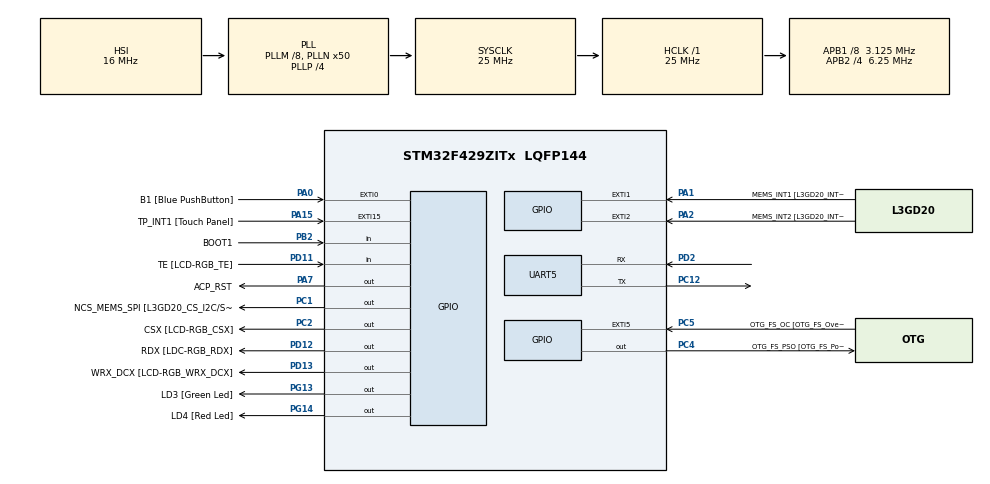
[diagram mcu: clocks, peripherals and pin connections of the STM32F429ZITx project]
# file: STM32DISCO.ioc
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Dma.Request0=UART5_TX
Dma.UART5_TX.0.Direction=DMA_MEMORY_TO_PERIPH
Dma.UART5_TX.0.FIFOMode=DMA_FIFOMODE_DISABLE
Dma.UART5_TX.0.Instance=DMA1_Stream7
Dma.UART5_TX.0.MemDataAlignment=DMA_MDATAALIGN_BYTE
Dma.UART5_TX.0.MemInc=DMA_MINC_ENABLE
Dma.UART5_TX.0.Mode=DMA_CIRCULAR
Dma.UART5_TX.0.PeriphDataAlignment=DMA_PDATAALIGN_BYTE
Dma.UART5_TX.0.PeriphInc=DMA_PINC_DISABLE
Dma.UART5_TX.0.Priority=DMA_PRIORITY_LOW
Mcu.Family=STM32F4
Mcu.Name=STM32F429ZITx
Mcu.Package=LQFP144
NVIC.DMA1_Stream7_IRQn=true\:0\:0\:false\:false\:true\:false\:true\:true
NVIC.PriorityGroup=NVIC_PRIORITYGROUP_0
NVIC.UART5_IRQn=true\:0\:0\:false\:false\:true\:true\:true\:true
PA0/WKUP.GPIO_Label=B1 [Blue PushButton]
PA0/WKUP.GPIO_ModeDefaultEXTI=GPIO_MODE_EVT_RISING
PA0/WKUP.GPIO_PuPd=GPIO_NOPULL
PA0/WKUP.Signal=GPXTI0
PA1.GPIO_Label=MEMS_INT1 [L3GD20_INT1]
PA1.GPIO_ModeDefaultEXTI=GPIO_MODE_EVT_RISING
PA1.GPIO_PuPd=GPIO_NOPULL
PA1.Signal=GPXTI1
PA10.GPIO_Label=STLINK_TX [STM32F103CBT6_PA2]
PA10.Signal=USART1_RX
PA11.GPIO_Label=R4
PA11.GPIO_Mode=GPIO_MODE_AF_PP
PA11.GPIO_PuPd=GPIO_NOPULL
PA11.GPIO_Speed=GPIO_SPEED_FREQ_LOW
PA11.Signal=LTDC_R4
PA12.GPIO_Label=R5
PA12.GPIO_Mode=GPIO_MODE_AF_PP
PA12.GPIO_PuPd=GPIO_NOPULL
PA12.GPIO_Speed=GPIO_SPEED_FREQ_LOW
PA12.Signal=LTDC_R5
PA13.GPIO_Label=SWDIO
PA13.Signal=SYS_JTMS-SWDIO
PA14.GPIO_Label=SWCLK
PA14.Signal=SYS_JTCK-SWCLK
PA15.GPIO_Label=TP_INT1 [Touch Panel]
PA15.GPIO_ModeDefaultEXTI=GPIO_MODE_EVT_RISING
PA15.GPIO_PuPd=GPIO_NOPULL
PA15.Signal=GPXTI15
PA2.GPIO_Label=MEMS_INT2 [L3GD20_INT2]
PA2.GPIO_ModeDefaultEXTI=GPIO_MODE_EVT_RISING
PA2.GPIO_PuPd=GPIO_NOPULL
PA2.Signal=GPXTI2
PA3.GPIO_Label=B5
PA3.GPIO_Mode=GPIO_MODE_AF_PP
PA3.GPIO_PuPd=GPIO_NOPULL
PA3.GPIO_Speed=GPIO_SPEED_FREQ_LOW
PA3.Signal=LTDC_B5
PA4.GPIO_Label=VSYNC
PA4.GPIO_Mode=GPIO_MODE_AF_PP
PA4.GPIO_PuPd=GPIO_NOPULL
PA4.GPIO_Speed=GPIO_SPEED_FREQ_LOW
PA4.Signal=LTDC_VSYNC
PA6.GPIO_Label=G2
PA6.GPIO_Mode=GPIO_MODE_AF_PP
PA6.GPIO_PuPd=GPIO_NOPULL
PA6.GPIO_Speed=GPIO_SPEED_FREQ_LOW
PA6.Signal=LTDC_G2
PA7.GPIO_Label=ACP_RST
PA7.GPIO_Mode=GPIO_MODE_OUTPUT_PP
PA7.GPIO_PuPd=GPIO_NOPULL
PA7.GPIO_Speed=GPIO_SPEED_FREQ_LOW
PA7.Signal=GPIO_Output
PA8.GPIO_Label=I2C3_SCL [ACP/RF_SCL]
PA8.GPIO_Mode=GPIO_MODE_AF_OD
PA8.GPIO_PuPd=GPIO_NOPULL
PA8.GPIO_Speed=GPIO_SPEED_FREQ_LOW
PA8.Signal=I2C3_SCL
PA9.GPIO_Label=STLINK_RX [STM32F103CBT6_PA3]
PA9.Signal=USART1_TX
PB0.GPIO_Label=R3
PB0.GPIO_Mode=GPIO_MODE_AF_PP
PB0.GPIO_PuPd=GPIO_NOPULL
PB0.GPIO_Speed=GPIO_SPEED_FREQ_LOW
PB0.Signal=LTDC_R3
PB1.GPIO_Label=R6
PB1.GPIO_Mode=GPIO_MODE_AF_PP
PB1.GPIO_PuPd=GPIO_NOPULL
PB1.GPIO_Speed=GPIO_SPEED_FREQ_LOW
PB1.Signal=LTDC_R6
PB10.GPIO_Label=G4
PB10.GPIO_Mode=GPIO_MODE_AF_PP
PB10.GPIO_PuPd=GPIO_NOPULL
PB10.GPIO_Speed=GPIO_SPEED_FREQ_LOW
PB10.Signal=LTDC_G4
PB11.GPIO_Label=G5
PB11.GPIO_Mode=GPIO_MODE_AF_PP
PB11.GPIO_PuPd=GPIO_NOPULL
PB11.GPIO_Speed=GPIO_SPEED_FREQ_LOW
PB11.Signal=LTDC_G5
PB12.GPIO_Label=OTG_HS_ID
PB12.GPIO_Mode=GPIO_MODE_AF_PP
PB12.GPIO_PuPd=GPIO_NOPULL
PB12.GPIO_Speed=GPIO_SPEED_FREQ_LOW
PB12.Signal=USB_OTG_HS_ID
PB13.GPIO_Label=VBUS_HS
PB13.GPIO_Mode=GPIO_MODE_INPUT
PB13.GPIO_PuPd=GPIO_NOPULL
PB13.Signal=USB_OTG_HS_VBUS
PB14.GPIO_Label=OTG_HS_DM
PB14.GPIO_Mode=GPIO_MODE_AF_PP
PB14.GPIO_PuPd=GPIO_NOPULL
PB14.GPIO_Speed=GPIO_SPEED_FREQ_LOW
PB14.Signal=USB_OTG_HS_DM
PB15.GPIO_Label=OTG_HS_DP
PB15.GPIO_Mode=GPIO_MODE_AF_PP
PB15.GPIO_PuPd=GPIO_NOPULL
PB15.GPIO_Speed=GPIO_SPEED_FREQ_LOW
PB15.Signal=USB_OTG_HS_DP
PB2/BOOT1.GPIO_Label=BOOT1
PB2/BOOT1.GPIO_Mode=GPIO_MODE_INPUT
PB2/BOOT1.GPIO_PuPd=GPIO_NOPULL
PB2/BOOT1.Signal=GPIO_Input
PB5.GPIO_Label=SDCKE1
PB5.GPIO_Mode=GPIO_MODE_AF_PP
PB5.GPIO_PuPd=GPIO_NOPULL
PB5.GPIO_Speed=GPIO_SPEED_FREQ_VERY_HIGH
PB5.Signal=FMC_SDCKE1
PB6.GPIO_Label=SDNE1 [SDRAM_CS]
PB6.GPIO_Mode=GPIO_MODE_AF_PP
PB6.GPIO_PuPd=GPIO_NOPULL
PB6.GPIO_Speed=GPIO_SPEED_FREQ_VERY_HIGH
PB6.Signal=FMC_SDNE1
PB8.GPIO_Label=B6
PB8.GPIO_Mode=GPIO_MODE_AF_PP
PB8.GPIO_PuPd=GPIO_NOPULL
PB8.GPIO_Speed=GPIO_SPEED_FREQ_LOW
PB8.Signal=LTDC_B6
PB9.GPIO_Label=B7
PB9.GPIO_Mode=GPIO_MODE_AF_PP
PB9.GPIO_PuPd=GPIO_NOPULL
PB9.GPIO_Speed=GPIO_SPEED_FREQ_LOW
PB9.Signal=LTDC_B7
PC0.GPIO_Label=SDNWE
PC0.GPIO_Mode=GPIO_MODE_AF_PP
PC0.GPIO_PuPd=GPIO_NOPULL
PC0.GPIO_Speed=GPIO_SPEED_FREQ_VERY_HIGH
PC0.Signal=FMC_SDNWE
PC1.GPIO_Label=NCS_MEMS_SPI [L3GD20_CS_I2C/SPI]
PC1.GPIO_Mode=GPIO_MODE_OUTPUT_PP
PC1.GPIO_PuPd=GPIO_NOPULL
PC1.GPIO_Speed=GPIO_SPEED_FREQ_LOW
PC1.Signal=GPIO_Output
PC10.GPIO_Label=R2
PC10.GPIO_Mode=GPIO_MODE_AF_PP
PC10.GPIO_PuPd=GPIO_NOPULL
PC10.GPIO_Speed=GPIO_SPEED_FREQ_LOW
PC10.Signal=LTDC_R2
PC12.Mode=Asynchronous
PC12.Signal=UART5_TX
PC14/OSC32_IN.GPIO_Label=PC14-OSC32_IN
PC14/OSC32_IN.Signal=RCC_OSC32_IN
PC15/OSC32_OUT.GPIO_Label=PC15-OSC32_OUT
PC15/OSC32_OUT.Signal=RCC_OSC32_OUT
PC2.GPIO_Label=CSX [LCD-RGB_CSX]
PC2.GPIO_Mode=GPIO_MODE_OUTPUT_PP
PC2.GPIO_PuPd=GPIO_NOPULL
PC2.GPIO_Speed=GPIO_SPEED_FREQ_LOW
PC2.Signal=GPIO_Output
PC4.GPIO_Label=OTG_FS_PSO [OTG_FS_PowerSwitchOn]
PC4.GPIO_Mode=GPIO_MODE_OUTPUT_PP
PC4.GPIO_PuPd=GPIO_NOPULL
PC4.GPIO_Speed=GPIO_SPEED_FREQ_LOW
PC4.Signal=GPIO_Output
PC5.GPIO_Label=OTG_FS_OC [OTG_FS_OverCurrent]
PC5.GPIO_ModeDefaultEXTI=GPIO_MODE_EVT_RISING
PC5.Signal=GPXTI5
PC6.GPIO_Label=HSYNC
PC6.GPIO_Mode=GPIO_MODE_AF_PP
PC6.GPIO_PuPd=GPIO_NOPULL
PC6.GPIO_Speed=GPIO_SPEED_FREQ_LOW
PC6.Signal=LTDC_HSYNC
PC7.GPIO_Label=G6
PC7.GPIO_Mode=GPIO_MODE_AF_PP
PC7.GPIO_PuPd=GPIO_NOPULL
PC7.GPIO_Speed=GPIO_SPEED_FREQ_LOW
PC7.Signal=LTDC_G6
PC9.GPIO_Label=I2C3_SDA [ACP/RF_SDA]
PC9.GPIO_Mode=GPIO_MODE_AF_OD
PC9.GPIO_PuPd=GPIO_NOPULL
PC9.GPIO_Speed=GPIO_SPEED_FREQ_LOW
PC9.Signal=I2C3_SDA
PD0.GPIO_Label=D2
PD0.GPIO_Mode=GPIO_MODE_AF_PP
PD0.GPIO_PuPd=GPIO_NOPULL
PD0.GPIO_Speed=GPIO_SPEED_FREQ_VERY_HIGH
PD0.Signal=FMC_D2_DA2
PD1.GPIO_Label=D3
PD1.GPIO_Mode=GPIO_MODE_AF_PP
PD1.GPIO_PuPd=GPIO_NOPULL
PD1.GPIO_Speed=GPIO_SPEED_FREQ_VERY_HIGH
PD1.Signal=FMC_D3_DA3
PD10.GPIO_Label=D15
PD10.GPIO_Mode=GPIO_MODE_AF_PP
PD10.GPIO_PuPd=GPIO_NOPULL
PD10.GPIO_Speed=GPIO_SPEED_FREQ_VERY_HIGH
PD10.Signal=FMC_D15_DA15
PD11.GPIO_Label=TE [LCD-RGB_TE]
PD11.GPIO_Mode=GPIO_MODE_INPUT
PD11.GPIO_PuPd=GPIO_NOPULL
PD11.Signal=GPIO_Input
PD12.GPIO_Label=RDX [LDC-RGB_RDX]
PD12.GPIO_Mode=GPIO_MODE_OUTPUT_PP
PD12.GPIO_PuPd=GPIO_NOPULL
PD12.GPIO_Speed=GPIO_SPEED_FREQ_LOW
PD12.Signal=GPIO_Output
PD13.GPIO_Label=WRX_DCX [LCD-RGB_WRX_DCX]
PD13.GPIO_Mode=GPIO_MODE_OUTPUT_PP
PD13.GPIO_PuPd=GPIO_NOPULL
PD13.GPIO_Speed=GPIO_SPEED_FREQ_LOW
PD13.Signal=GPIO_Output
PD14.GPIO_Label=D0
PD14.GPIO_Mode=GPIO_MODE_AF_PP
PD14.GPIO_PuPd=GPIO_NOPULL
PD14.GPIO_Speed=GPIO_SPEED_FREQ_VERY_HIGH
PD14.Signal=FMC_D0_DA0
PD15.GPIO_Label=D1
PD15.GPIO_Mode=GPIO_MODE_AF_PP
PD15.GPIO_PuPd=GPIO_NOPULL
PD15.GPIO_Speed=GPIO_SPEED_FREQ_VERY_HIGH
PD15.Signal=FMC_D1_DA1
PD2.Mode=Asynchronous
PD2.Signal=UART5_RX
PD3.GPIO_Label=G7
PD3.GPIO_Mode=GPIO_MODE_AF_PP
PD3.GPIO_PuPd=GPIO_NOPULL
PD3.GPIO_Speed=GPIO_SPEED_FREQ_LOW
PD3.Signal=LTDC_G7
PD6.GPIO_Label=B2
PD6.GPIO_Mode=GPIO_MODE_AF_PP
PD6.GPIO_PuPd=GPIO_NOPULL
PD6.GPIO_Speed=GPIO_SPEED_FREQ_LOW
PD6.Signal=LTDC_B2
PD8.GPIO_Label=D13
PD8.GPIO_Mode=GPIO_MODE_AF_PP
PD8.GPIO_PuPd=GPIO_NOPULL
PD8.GPIO_Speed=GPIO_SPEED_FREQ_VERY_HIGH
PD8.Signal=FMC_D13_DA13
PD9.GPIO_Label=D14
PD9.GPIO_Mode=GPIO_MODE_AF_PP
PD9.GPIO_PuPd=GPIO_NOPULL
PD9.GPIO_Speed=GPIO_SPEED_FREQ_VERY_HIGH
PD9.Signal=FMC_D14_DA14
PE0.GPIO_Label=NBL0 [SDRAM_LDQM]
PE0.GPIO_Mode=GPIO_MODE_AF_PP
PE0.GPIO_PuPd=GPIO_NOPULL
PE0.GPIO_Speed=GPIO_SPEED_FREQ_VERY_HIGH
PE0.Signal=FMC_NBL0
PE1.GPIO_Label=NBL1 [SDRAM_UDQM]
PE1.GPIO_Mode=GPIO_MODE_AF_PP
PE1.GPIO_PuPd=GPIO_NOPULL
PE1.GPIO_Speed=GPIO_SPEED_FREQ_VERY_HIGH
PE1.Signal=FMC_NBL1
PE10.GPIO_Label=D7
PE10.GPIO_Mode=GPIO_MODE_AF_PP
PE10.GPIO_PuPd=GPIO_NOPULL
PE10.GPIO_Speed=GPIO_SPEED_FREQ_VERY_HIGH
PE10.Signal=FMC_D7_DA7
PE11.GPIO_Label=D8
PE11.GPIO_Mode=GPIO_MODE_AF_PP
PE11.GPIO_PuPd=GPIO_NOPULL
PE11.GPIO_Speed=GPIO_SPEED_FREQ_VERY_HIGH
PE11.Signal=FMC_D8_DA8
PE12.GPIO_Label=D9
PE12.GPIO_Mode=GPIO_MODE_AF_PP
PE12.GPIO_PuPd=GPIO_NOPULL
PE12.GPIO_Speed=GPIO_SPEED_FREQ_VERY_HIGH
PE12.Signal=FMC_D9_DA9
PE13.GPIO_Label=D10
PE13.GPIO_Mode=GPIO_MODE_AF_PP
PE13.GPIO_PuPd=GPIO_NOPULL
PE13.GPIO_Speed=GPIO_SPEED_FREQ_VERY_HIGH
PE13.Signal=FMC_D10_DA10
PE14.GPIO_Label=D11
PE14.GPIO_Mode=GPIO_MODE_AF_PP
PE14.GPIO_PuPd=GPIO_NOPULL
PE14.GPIO_Speed=GPIO_SPEED_FREQ_VERY_HIGH
PE14.Signal=FMC_D11_DA11
PE15.GPIO_Label=D12
PE15.GPIO_Mode=GPIO_MODE_AF_PP
PE15.GPIO_PuPd=GPIO_NOPULL
PE15.GPIO_Speed=GPIO_SPEED_FREQ_VERY_HIGH
PE15.Signal=FMC_D12_DA12
PE7.GPIO_Label=D4
PE7.GPIO_Mode=GPIO_MODE_AF_PP
PE7.GPIO_PuPd=GPIO_NOPULL
PE7.GPIO_Speed=GPIO_SPEED_FREQ_VERY_HIGH
PE7.Signal=FMC_D4_DA4
PE8.GPIO_Label=D5
PE8.GPIO_Mode=GPIO_MODE_AF_PP
PE8.GPIO_PuPd=GPIO_NOPULL
PE8.GPIO_Speed=GPIO_SPEED_FREQ_VERY_HIGH
PE8.Signal=FMC_D5_DA5
PE9.GPIO_Label=D6
PE9.GPIO_Mode=GPIO_MODE_AF_PP
PE9.GPIO_PuPd=GPIO_NOPULL
PE9.GPIO_Speed=GPIO_SPEED_FREQ_VERY_HIGH
PE9.Signal=FMC_D6_DA6
PF0.GPIO_Label=A0
PF0.GPIO_Mode=GPIO_MODE_AF_PP
PF0.GPIO_PuPd=GPIO_NOPULL
PF0.GPIO_Speed=GPIO_SPEED_FREQ_VERY_HIGH
PF0.Signal=FMC_A0
PF1.GPIO_Label=A1
PF1.GPIO_Mode=GPIO_MODE_AF_PP
PF1.GPIO_PuPd=GPIO_NOPULL
PF1.GPIO_Speed=GPIO_SPEED_FREQ_VERY_HIGH
PF1.Signal=FMC_A1
PF10.GPIO_Label=ENABLE [LCD-RGB_ENABLE]
PF10.GPIO_Mode=GPIO_MODE_AF_PP
PF10.GPIO_PuPd=GPIO_NOPULL
PF10.GPIO_Speed=GPIO_SPEED_FREQ_LOW
PF10.Signal=LTDC_DE
PF11.GPIO_Label=SDNRAS
PF11.GPIO_Mode=GPIO_MODE_AF_PP
PF11.GPIO_PuPd=GPIO_NOPULL
PF11.GPIO_Speed=GPIO_SPEED_FREQ_VERY_HIGH
PF11.Signal=FMC_SDNRAS
PF12.GPIO_Label=A6
PF12.GPIO_Mode=GPIO_MODE_AF_PP
PF12.GPIO_PuPd=GPIO_NOPULL
PF12.GPIO_Speed=GPIO_SPEED_FREQ_VERY_HIGH
PF12.Signal=FMC_A6
PF13.GPIO_Label=A7
PF13.GPIO_Mode=GPIO_MODE_AF_PP
PF13.GPIO_PuPd=GPIO_NOPULL
PF13.GPIO_Speed=GPIO_SPEED_FREQ_VERY_HIGH
PF13.Signal=FMC_A7
PF14.GPIO_Label=A8
PF14.GPIO_Mode=GPIO_MODE_AF_PP
PF14.GPIO_PuPd=GPIO_NOPULL
PF14.GPIO_Speed=GPIO_SPEED_FREQ_VERY_HIGH
PF14.Signal=FMC_A8
PF15.GPIO_Label=A9
PF15.GPIO_Mode=GPIO_MODE_AF_PP
PF15.GPIO_PuPd=GPIO_NOPULL
PF15.GPIO_Speed=GPIO_SPEED_FREQ_VERY_HIGH
PF15.Signal=FMC_A9
PF2.GPIO_Label=A2
PF2.GPIO_Mode=GPIO_MODE_AF_PP
PF2.GPIO_PuPd=GPIO_NOPULL
PF2.GPIO_Speed=GPIO_SPEED_FREQ_VERY_HIGH
PF2.Signal=FMC_A2
PF3.GPIO_Label=A3
PF3.GPIO_Mode=GPIO_MODE_AF_PP
PF3.GPIO_PuPd=GPIO_NOPULL
PF3.GPIO_Speed=GPIO_SPEED_FREQ_VERY_HIGH
PF3.Signal=FMC_A3
PF4.GPIO_Label=A4
PF4.GPIO_Mode=GPIO_MODE_AF_PP
PF4.GPIO_PuPd=GPIO_NOPULL
PF4.GPIO_Speed=GPIO_SPEED_FREQ_VERY_HIGH
PF4.Signal=FMC_A4
PF5.GPIO_Label=A5
PF5.GPIO_Mode=GPIO_MODE_AF_PP
PF5.GPIO_PuPd=GPIO_NOPULL
PF5.GPIO_Speed=GPIO_SPEED_FREQ_VERY_HIGH
PF5.Signal=FMC_A5
PF7.GPIO_Label=SPI5_SCK [L3GD20_SCL/SPC]
PF7.GPIO_Mode=GPIO_MODE_AF_PP
PF7.GPIO_PuPd=GPIO_NOPULL
PF7.GPIO_Speed=GPIO_SPEED_FREQ_LOW
PF7.Signal=SPI5_SCK
PF8.GPIO_Label=SPI5_MISO [L3GD20_SDO]
PF8.GPIO_Mode=GPIO_MODE_AF_PP
PF8.GPIO_PuPd=GPIO_NOPULL
PF8.GPIO_Speed=GPIO_SPEED_FREQ_LOW
PF8.Signal=SPI5_MISO
PF9.GPIO_Label=SPI5_MOSI [L3GD20_SDA/SDI/SDO]
PF9.GPIO_Mode=GPIO_MODE_AF_PP
PF9.GPIO_PuPd=GPIO_NOPULL
PF9.GPIO_Speed=GPIO_SPEED_FREQ_LOW
PF9.Signal=SPI5_MOSI
PG0.GPIO_Label=A10
PG0.GPIO_Mode=GPIO_MODE_AF_PP
PG0.GPIO_PuPd=GPIO_NOPULL
PG0.GPIO_Speed=GPIO_SPEED_FREQ_VERY_HIGH
PG0.Signal=FMC_A10
PG1.GPIO_Label=A11
PG1.GPIO_Mode=GPIO_MODE_AF_PP
PG1.GPIO_PuPd=GPIO_NOPULL
PG1.GPIO_Speed=GPIO_SPEED_FREQ_VERY_HIGH
PG1.Signal=FMC_A11
PG10.GPIO_Label=G3
PG10.GPIO_Mode=GPIO_MODE_AF_PP
PG10.GPIO_PuPd=GPIO_NOPULL
PG10.GPIO_Speed=GPIO_SPEED_FREQ_LOW
PG10.Signal=LTDC_G3
PG11.GPIO_Label=B3
PG11.GPIO_Mode=GPIO_MODE_AF_PP
PG11.GPIO_PuPd=GPIO_NOPULL
PG11.GPIO_Speed=GPIO_SPEED_FREQ_LOW
PG11.Signal=LTDC_B3
PG12.GPIO_Label=B4
PG12.GPIO_Mode=GPIO_MODE_AF_PP
PG12.GPIO_PuPd=GPIO_NOPULL
PG12.GPIO_Speed=GPIO_SPEED_FREQ_LOW
PG12.Signal=LTDC_B4
PG13.GPIO_Label=LD3 [Green Led]
PG13.GPIO_Mode=GPIO_MODE_OUTPUT_PP
PG13.GPIO_PuPd=GPIO_NOPULL
PG13.GPIO_Speed=GPIO_SPEED_FREQ_LOW
PG13.Signal=GPIO_Output
PG14.GPIO_Label=LD4 [Red Led]
PG14.GPIO_Mode=GPIO_MODE_OUTPUT_PP
PG14.GPIO_PuPd=GPIO_NOPULL
PG14.GPIO_Speed=GPIO_SPEED_FREQ_LOW
PG14.Signal=GPIO_Output
PG15.GPIO_Label=SDNCAS
PG15.GPIO_Mode=GPIO_MODE_AF_PP
PG15.GPIO_PuPd=GPIO_NOPULL
PG15.GPIO_Speed=GPIO_SPEED_FREQ_VERY_HIGH
PG15.Signal=FMC_SDNCAS
PG4.GPIO_Label=BA0
PG4.GPIO_Mode=GPIO_MODE_AF_PP
PG4.GPIO_PuPd=GPIO_NOPULL
PG4.GPIO_Speed=GPIO_SPEED_FREQ_VERY_HIGH
PG4.Signal=FMC_A14_BA0
PG5.GPIO_Label=BA1
PG5.GPIO_Mode=GPIO_MODE_AF_PP
PG5.GPIO_PuPd=GPIO_NOPULL
PG5.GPIO_Speed=GPIO_SPEED_FREQ_VERY_HIGH
PG5.Signal=FMC_A15_BA1
PG6.GPIO_Label=R7
PG6.GPIO_Mode=GPIO_MODE_AF_PP
PG6.GPIO_PuPd=GPIO_NOPULL
PG6.GPIO_Speed=GPIO_SPEED_FREQ_LOW
PG6.Signal=LTDC_R7
PG7.GPIO_Label=DOTCLK [LCT-RGB_DOTCLK]
PG7.GPIO_Mode=GPIO_MODE_AF_PP
PG7.GPIO_PuPd=GPIO_NOPULL
PG7.GPIO_Speed=GPIO_SPEED_FREQ_LOW
PG7.Signal=LTDC_CLK
PG8.GPIO_Label=SDCLK
PG8.GPIO_Mode=GPIO_MODE_AF_PP
PG8.GPIO_PuPd=GPIO_NOPULL
PG8.GPIO_Speed=GPIO_SPEED_FREQ_VERY_HIGH
PG8.Signal=FMC_SDCLK
PH0/OSC_IN.GPIO_Label=PH0-OSC_IN
PH0/OSC_IN.Signal=RCC_OSC_IN
PH1/OSC_OUT.GPIO_Label=PH1-OSC_OUT
PH1/OSC_OUT.Signal=RCC_OSC_OUT
ProjectManager.HeapSize=0x200
ProjectManager.StackSize=0x400
ProjectManager.TargetToolchain=STM32CubeIDE
RCC.48MHZClocksFreq_Value=14285714.285714285
RCC.AHBFreq_Value=25000000
RCC.APB1CLKDivider=RCC_HCLK_DIV8
RCC.APB1Freq_Value=3125000
RCC.APB1TimFreq_Value=6250000
RCC.APB2CLKDivider=RCC_HCLK_DIV4
RCC.APB2Freq_Value=6250000
RCC.APB2TimFreq_Value=12500000
RCC.CortexFreq_Value=25000000
RCC.HCLKFreq_Value=25000000
RCC.HSE_VALUE=8000000
RCC.HSI_VALUE=16000000
RCC.LSE_VALUE=32768
RCC.PLLM=8
RCC.PLLN=50
RCC.PLLP=RCC_PLLP_DIV4
RCC.PLLQ=7
RCC.SYSCLKFreq_VALUE=25000000
RCC.SYSCLKSource=RCC_SYSCLKSOURCE_PLLCLK
RCC.VCOOutputFreq_Value=100000000
SH.FMC_A0.0=FMC_A0
SH.FMC_A1.0=FMC_A1
SH.FMC_A10.0=FMC_A10
SH.FMC_A11.0=FMC_A11
SH.FMC_A14_BA0.0=FMC_BA0
SH.FMC_A15_BA1.0=FMC_BA1
SH.FMC_A2.0=FMC_A2
SH.FMC_A3.0=FMC_A3
SH.FMC_A4.0=FMC_A4
SH.FMC_A5.0=FMC_A5
SH.FMC_A6.0=FMC_A6
SH.FMC_A7.0=FMC_A7
SH.FMC_A8.0=FMC_A8
SH.FMC_A9.0=FMC_A9
SH.FMC_D0_DA0.0=FMC_D0
SH.FMC_D10_DA10.0=FMC_D10
SH.FMC_D11_DA11.0=FMC_D11
SH.FMC_D12_DA12.0=FMC_D12
SH.FMC_D13_DA13.0=FMC_D13
SH.FMC_D14_DA14.0=FMC_D14
SH.FMC_D15_DA15.0=FMC_D15
SH.FMC_D1_DA1.0=FMC_D1
SH.FMC_D2_DA2.0=FMC_D2
SH.FMC_D3_DA3.0=FMC_D3
SH.FMC_D4_DA4.0=FMC_D4
SH.FMC_D5_DA5.0=FMC_D5
SH.FMC_D6_DA6.0=FMC_D6
SH.FMC_D7_DA7.0=FMC_D7
SH.FMC_D8_DA8.0=FMC_D8
SH.FMC_D9_DA9.0=FMC_D9
SH.FMC_NBL0.0=FMC_NBL0
SH.FMC_NBL1.0=FMC_NBL1
SH.FMC_SDCLK.0=FMC_SDCLK
SH.FMC_SDNCAS.0=FMC_SDNCAS
SH.FMC_SDNRAS.0=FMC_SDNRAS
SH.FMC_SDNWE.0=FMC_SDNWE
UART5.VirtualMode=Asynchronous
board=STM32F429I-DISC1

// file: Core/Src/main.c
/* USER CODE BEGIN Header */
/**
  ******************************************************************************
  * @file           : main.c
  * @brief          : Main program body
  ******************************************************************************
  * @attention
  *
  * Copyright (c) 2025 STMicroelectronics.
  * All rights reserved.
  *
  * This software is licensed under terms that can be found in the LICENSE file
  * in the root directory of this software component.
  * If no LICENSE file comes with this software, it is provided AS-IS.
  *
  ******************************************************************************
  */
/* USER CODE END Header */
#include "main.h"

/* USER CODE BEGIN PD */
#define ECG_LEN 250

#define BLOCK_SAMPLES 32 //radimo blokovski DMA prijenos, svaki blok će imati 32 uzorka ECG signala
#define BYTES_PER_SAMPLE 2 //svaki uzorak zauzima 2 bajta (STM32F429 familija ima 12 bitni ADC [0,4096])
#define TX_BLOCK_SIZE (BLOCK_SAMPLES * BYTES_PER_SAMPLE) //ovo je ujedno i DMA buffer size
/* USER CODE END PD */

UART_HandleTypeDef huart5;
DMA_HandleTypeDef hdma_uart5_tx;

/* USER CODE BEGIN PV */

char transmit_buffer[TX_BLOCK_SIZE]; //string veličine 64 byte-a koji šaljemo
char recieve_buffer[TX_BLOCK_SIZE]; //trenutačno ne korisitmo
uint8_t dma_buffer[TX_BLOCK_SIZE]; //više manje identično što i char, no DMA ne zna što je character, DMA zna samo što je byte  (uint8_t)

uint8_t rx_byte;
char rx_buffer[32];
uint8_t rx_index = 0;

volatile streaming = 0; //varijabla sa kojom ćemo pokrenut omogucit tj. onemogucit dma prijenos prema uartu

const uint16_t ecg_mock[ECG_LEN] = {
    // baseline
    2048,2048,2048,2048,2049,2050,2051,2050,2049,2048,

    // P wave (small bump)
    2050,2053,2058,2065,2070,2075,2070,2065,2058,2053,2050,

    // PR segment
    2049,2048,2048,2048,2048,2048,

    // Q dip
    2035,2020,2000,

    // R peak
    2300,2800,3500,4095,3600,3000,2500,

    // S dip
    2100,2000,1980,

    // ST segment
    2048,2050,2052,2054,2056,2054,2052,2050,2048,

    // T wave
    2060,2080,2100,2130,2160,2180,2200,
    2180,2160,2130,2100,2080,2060,

    // return to baseline
    2050,2048,2048,2048,2048,2048,2048,

    // rest (diastole)
    2048,2048,2048,2048,2048,2048,2048,2048,2048,2048,
    2048,2048,2048,2048,2048,2048,2048,2048,2048,2048,
    2048,2048,2048,2048,2048,2048,2048,2048,2048,2048,
    2048,2048,2048,2048,2048,2048,2048,2048,2048,2048,

    // lagani šum (realističnije)
    2049,2047,2048,2049,2048,2047,2048,2049,2048,2047,
    2048,2049,2048,2047,2048,2049,2048,2047,

    // još malo baseline da dođe do ~250
    2048,2048,2048,2048,2048,2048,2048,2048,2048,2048,
    2048,2048,2048,2048,2048,2048,2048,2048,2048,2048,
    2048,2048,2048,2048,2048,2048,2048,2048,2048,2048,
    2048,2048,2048,2048,2048,2048,2048,2048,2048,2048,
};

/* USER CODE END PV */

void SystemClock_Config(void);
static void MX_GPIO_Init(void);
static void MX_DMA_Init(void);
static void MX_UART5_Init(void);
/* USER CODE BEGIN PFP */
//PFP = private function prototypes
void start_streaming(void);
void stop_streaming(void);
void fill_tx_dma_block(void); //punjenje DMA blokova
void send_block_dma(void); //slanje blokova preko UART-a
void HAL_UART_TxCpltCallback(UART_HandleTypeDef *huart); //poziva se nakon prijenosa svakog bloka podataka
/* USER CODE END PFP */

int main(void)
{

  /* MCU Configuration--------------------------------------------------------*/

  /* Reset of all peripherals, Initializes the Flash interface and the Systick. */
  HAL_Init();

  /* Configure the system clock */
  SystemClock_Config();

  /* Initialize all configured peripherals */
  MX_GPIO_Init();
  MX_DMA_Init();
  MX_UART5_Init();
  /* USER CODE BEGIN 2 */
//  HAL_UART_Transmit_DMA(&huart5, dma_buffer, TX_BLOCK_SIZE);
  HAL_UART_Receive_IT(&huart5, &rx_byte, 1); //omogucujemo interrupt da poveemo python sa mikrokontrolerom
  /* USER CODE END 2 */

  /* Infinite loop */
  while (1)
  {

    /* USER CODE BEGIN 3 */

  //Nemamo potrebe pisati bilo kakav kod za DMA, pri ulasku u main HAL_UART_Transmit_DMA() gleda lokaciju podataka i ako ima podataka DMA šalje podatke bez obzira na to
  //jesu li podaci novi, stari, osvježenili ili nisu
  }
  /* USER CODE END 3 */
}

void SystemClock_Config(void)
{
  RCC_OscInitTypeDef RCC_OscInitStruct = {0};
  RCC_ClkInitTypeDef RCC_ClkInitStruct = {0};

  /** Configure the main internal regulator output voltage
  */
  __HAL_RCC_PWR_CLK_ENABLE();
  __HAL_PWR_VOLTAGESCALING_CONFIG(PWR_REGULATOR_VOLTAGE_SCALE3);

  /** Initializes the RCC Oscillators according to the specified parameters
  * in the RCC_OscInitTypeDef structure.
  */
  RCC_OscInitStruct.OscillatorType = RCC_OSCILLATORTYPE_HSI;
  RCC_OscInitStruct.HSIState = RCC_HSI_ON;
  RCC_OscInitStruct.HSICalibrationValue = RCC_HSICALIBRATION_DEFAULT;
  RCC_OscInitStruct.PLL.PLLState = RCC_PLL_ON;
  RCC_OscInitStruct.PLL.PLLSource = RCC_PLLSOURCE_HSI;
  RCC_OscInitStruct.PLL.PLLM = 8;
  RCC_OscInitStruct.PLL.PLLN = 50;
  RCC_OscInitStruct.PLL.PLLP = RCC_PLLP_DIV4;
  RCC_OscInitStruct.PLL.PLLQ = 7;
  if (HAL_RCC_OscConfig(&RCC_OscInitStruct) != HAL_OK)
  {
    Error_Handler();
  }

  /** Initializes the CPU, AHB and APB buses clocks
  */
  RCC_ClkInitStruct.ClockType = RCC_CLOCKTYPE_HCLK|RCC_CLOCKTYPE_SYSCLK
                              |RCC_CLOCKTYPE_PCLK1|RCC_CLOCKTYPE_PCLK2;
  RCC_ClkInitStruct.SYSCLKSource = RCC_SYSCLKSOURCE_PLLCLK;
  RCC_ClkInitStruct.AHBCLKDivider = RCC_SYSCLK_DIV1;
  RCC_ClkInitStruct.APB1CLKDivider = RCC_HCLK_DIV8;
  RCC_ClkInitStruct.APB2CLKDivider = RCC_HCLK_DIV4;

  if (HAL_RCC_ClockConfig(&RCC_ClkInitStruct, FLASH_LATENCY_0) != HAL_OK)
  {
    Error_Handler();
  }
}

static void MX_UART5_Init(void)
{

  huart5.Instance = UART5;
  huart5.Init.BaudRate = 115200;
  huart5.Init.WordLength = UART_WORDLENGTH_8B;
  huart5.Init.StopBits = UART_STOPBITS_1;
  huart5.Init.Parity = UART_PARITY_NONE;
  huart5.Init.Mode = UART_MODE_TX_RX;
  huart5.Init.HwFlowCtl = UART_HWCONTROL_NONE;
  huart5.Init.OverSampling = UART_OVERSAMPLING_16;
  if (HAL_UART_Init(&huart5) != HAL_OK)
  {
    Error_Handler();
  }

}

static void MX_DMA_Init(void)
{

  /* DMA controller clock enable */
  __HAL_RCC_DMA1_CLK_ENABLE();

  /* DMA interrupt init */
  /* DMA1_Stream7_IRQn interrupt configuration */
  HAL_NVIC_SetPriority(DMA1_Stream7_IRQn, 0, 0);
  HAL_NVIC_EnableIRQ(DMA1_Stream7_IRQn);

}

static void MX_GPIO_Init(void)
{
  GPIO_InitTypeDef GPIO_InitStruct = {0};

  /* GPIO Ports Clock Enable */
  __HAL_RCC_GPIOC_CLK_ENABLE();
  __HAL_RCC_GPIOF_CLK_ENABLE();
  __HAL_RCC_GPIOH_CLK_ENABLE();
  __HAL_RCC_GPIOA_CLK_ENABLE();
  __HAL_RCC_GPIOB_CLK_ENABLE();
  __HAL_RCC_GPIOG_CLK_ENABLE();
  __HAL_RCC_GPIOE_CLK_ENABLE();
  __HAL_RCC_GPIOD_CLK_ENABLE();

  /*Configure GPIO pin Output Level */
  HAL_GPIO_WritePin(GPIOC, NCS_MEMS_SPI_Pin|CSX_Pin|OTG_FS_PSO_Pin, GPIO_PIN_RESET);

  /*Configure GPIO pin Output Level */
  HAL_GPIO_WritePin(ACP_RST_GPIO_Port, ACP_RST_Pin, GPIO_PIN_RESET);

  /*Configure GPIO pin Output Level */
  HAL_GPIO_WritePin(GPIOD, RDX_Pin|WRX_DCX_Pin, GPIO_PIN_RESET);

  /*Configure GPIO pin Output Level */
  HAL_GPIO_WritePin(GPIOG, LD3_Pin|LD4_Pin, GPIO_PIN_RESET);

  /*Configure GPIO pins : A0_Pin A1_Pin A2_Pin A3_Pin
                           A4_Pin A5_Pin SDNRAS_Pin A6_Pin
                           A7_Pin A8_Pin A9_Pin */
  GPIO_InitStruct.Pin = A0_Pin|A1_Pin|A2_Pin|A3_Pin
                          |A4_Pin|A5_Pin|SDNRAS_Pin|A6_Pin
                          |A7_Pin|A8_Pin|A9_Pin;
  GPIO_InitStruct.Mode = GPIO_MODE_AF_PP;
  GPIO_InitStruct.Pull = GPIO_NOPULL;
  GPIO_InitStruct.Speed = GPIO_SPEED_FREQ_VERY_HIGH;
  GPIO_InitStruct.Alternate = GPIO_AF12_FMC;
  HAL_GPIO_Init(GPIOF, &GPIO_InitStruct);

  /*Configure GPIO pins : SPI5_SCK_Pin SPI5_MISO_Pin SPI5_MOSI_Pin */
  GPIO_InitStruct.Pin = SPI5_SCK_Pin|SPI5_MISO_Pin|SPI5_MOSI_Pin;
  GPIO_InitStruct.Mode = GPIO_MODE_AF_PP;
  GPIO_InitStruct.Pull = GPIO_NOPULL;
  GPIO_InitStruct.Speed = GPIO_SPEED_FREQ_LOW;
  GPIO_InitStruct.Alternate = GPIO_AF5_SPI5;
  HAL_GPIO_Init(GPIOF, &GPIO_InitStruct);

  /*Configure GPIO pin : ENABLE_Pin */
  GPIO_InitStruct.Pin = ENABLE_Pin;
  GPIO_InitStruct.Mode = GPIO_MODE_AF_PP;
  GPIO_InitStruct.Pull = GPIO_NOPULL;
  GPIO_InitStruct.Speed = GPIO_SPEED_FREQ_LOW;
  GPIO_InitStruct.Alternate = GPIO_AF14_LTDC;
  HAL_GPIO_Init(ENABLE_GPIO_Port, &GPIO_InitStruct);

  /*Configure GPIO pin : SDNWE_Pin */
  GPIO_InitStruct.Pin = SDNWE_Pin;
  GPIO_InitStruct.Mode = GPIO_MODE_AF_PP;
  GPIO_InitStruct.Pull = GPIO_NOPULL;
  GPIO_InitStruct.Speed = GPIO_SPEED_FREQ_VERY_HIGH;
  GPIO_InitStruct.Alternate = GPIO_AF12_FMC;
  HAL_GPIO_Init(SDNWE_GPIO_Port, &GPIO_InitStruct);

  /*Configure GPIO pins : NCS_MEMS_SPI_Pin CSX_Pin OTG_FS_PSO_Pin */
  GPIO_InitStruct.Pin = NCS_MEMS_SPI_Pin|CSX_Pin|OTG_FS_PSO_Pin;
  GPIO_InitStruct.Mode = GPIO_MODE_OUTPUT_PP;
  GPIO_InitStruct.Pull = GPIO_NOPULL;
  GPIO_InitStruct.Speed = GPIO_SPEED_FREQ_LOW;
  HAL_GPIO_Init(GPIOC, &GPIO_InitStruct);

  /*Configure GPIO pins : B1_Pin MEMS_INT1_Pin MEMS_INT2_Pin TP_INT1_Pin */
  GPIO_InitStruct.Pin = B1_Pin|MEMS_INT1_Pin|MEMS_INT2_Pin|TP_INT1_Pin;
  GPIO_InitStruct.Mode = GPIO_MODE_EVT_RISING;
  GPIO_InitStruct.Pull = GPIO_NOPULL;
  HAL_GPIO_Init(GPIOA, &GPIO_InitStruct);

  /*Configure GPIO pins : B5_Pin VSYNC_Pin G2_Pin R4_Pin
                           R5_Pin */
  GPIO_InitStruct.Pin = B5_Pin|VSYNC_Pin|G2_Pin|R4_Pin
                          |R5_Pin;
  GPIO_InitStruct.Mode = GPIO_MODE_AF_PP;
  GPIO_InitStruct.Pull = GPIO_NOPULL;
  GPIO_InitStruct.Speed = GPIO_SPEED_FREQ_LOW;
  GPIO_InitStruct.Alternate = GPIO_AF14_LTDC;
  HAL_GPIO_Init(GPIOA, &GPIO_InitStruct);

  /*Configure GPIO pin : ACP_RST_Pin */
  GPIO_InitStruct.Pin = ACP_RST_Pin;
  GPIO_InitStruct.Mode = GPIO_MODE_OUTPUT_PP;
  GPIO_InitStruct.Pull = GPIO_NOPULL;
  GPIO_InitStruct.Speed = GPIO_SPEED_FREQ_LOW;
  HAL_GPIO_Init(ACP_RST_GPIO_Port, &GPIO_InitStruct);

  /*Configure GPIO pin : OTG_FS_OC_Pin */
  GPIO_InitStruct.Pin = OTG_FS_OC_Pin;
  GPIO_InitStruct.Mode = GPIO_MODE_EVT_RISING;
  GPIO_InitStruct.Pull = GPIO_NOPULL;
  HAL_GPIO_Init(OTG_FS_OC_GPIO_Port, &GPIO_InitStruct);

  /*Configure GPIO pins : R3_Pin R6_Pin */
  GPIO_InitStruct.Pin = R3_Pin|R6_Pin;
  GPIO_InitStruct.Mode = GPIO_MODE_AF_PP;
  GPIO_InitStruct.Pull = GPIO_NOPULL;
  GPIO_InitStruct.Speed = GPIO_SPEED_FREQ_LOW;
  GPIO_InitStruct.Alternate = GPIO_AF9_LTDC;
  HAL_GPIO_Init(GPIOB, &GPIO_InitStruct);

  /*Configure GPIO pin : BOOT1_Pin */
  GPIO_InitStruct.Pin = BOOT1_Pin;
  GPIO_InitStruct.Mode = GPIO_MODE_INPUT;
  GPIO_InitStruct.Pull = GPIO_NOPULL;
  HAL_GPIO_Init(BOOT1_GPIO_Port, &GPIO_InitStruct);

  /*Configure GPIO pins : A10_Pin A11_Pin BA0_Pin BA1_Pin
                           SDCLK_Pin SDNCAS_Pin */
  GPIO_InitStruct.Pin = A10_Pin|A11_Pin|BA0_Pin|BA1_Pin
                          |SDCLK_Pin|SDNCAS_Pin;
  GPIO_InitStruct.Mode = GPIO_MODE_AF_PP;
  GPIO_InitStruct.Pull = GPIO_NOPULL;
  GPIO_InitStruct.Speed = GPIO_SPEED_FREQ_VERY_HIGH;
  GPIO_InitStruct.Alternate = GPIO_AF12_FMC;
  HAL_GPIO_Init(GPIOG, &GPIO_InitStruct);

  /*Configure GPIO pins : D4_Pin D5_Pin D6_Pin D7_Pin
                           D8_Pin D9_Pin D10_Pin D11_Pin
                           D12_Pin NBL0_Pin NBL1_Pin */
  GPIO_InitStruct.Pin = D4_Pin|D5_Pin|D6_Pin|D7_Pin
                          |D8_Pin|D9_Pin|D10_Pin|D11_Pin
                          |D12_Pin|NBL0_Pin|NBL1_Pin;
  GPIO_InitStruct.Mode = GPIO_MODE_AF_PP;
  GPIO_InitStruct.Pull = GPIO_NOPULL;
  GPIO_InitStruct.Speed = GPIO_SPEED_FREQ_VERY_HIGH;
  GPIO_InitStruct.Alternate = GPIO_AF12_FMC;
  HAL_GPIO_Init(GPIOE, &GPIO_InitStruct);

  /*Configure GPIO pins : G4_Pin G5_Pin B6_Pin B7_Pin */
  GPIO_InitStruct.Pin = G4_Pin|G5_Pin|B6_Pin|B7_Pin;
  GPIO_InitStruct.Mode = GPIO_MODE_AF_PP;
  GPIO_InitStruct.Pull = GPIO_NOPULL;
  GPIO_InitStruct.Speed = GPIO_SPEED_FREQ_LOW;
  GPIO_InitStruct.Alternate = GPIO_AF14_LTDC;
  HAL_GPIO_Init(GPIOB, &GPIO_InitStruct);

  /*Configure GPIO pins : OTG_HS_ID_Pin OTG_HS_DM_Pin OTG_HS_DP_Pin */
  GPIO_InitStruct.Pin = OTG_HS_ID_Pin|OTG_HS_DM_Pin|OTG_HS_DP_Pin;
  GPIO_InitStruct.Mode = GPIO_MODE_AF_PP;
  GPIO_InitStruct.Pull = GPIO_NOPULL;
  GPIO_InitStruct.Speed = GPIO_SPEED_FREQ_LOW;
  GPIO_InitStruct.Alternate = GPIO_AF12_OTG_HS_FS;
  HAL_GPIO_Init(GPIOB, &GPIO_InitStruct);

  /*Configure GPIO pin : VBUS_HS_Pin */
  GPIO_InitStruct.Pin = VBUS_HS_Pin;
  GPIO_InitStruct.Mode = GPIO_MODE_INPUT;
  GPIO_InitStruct.Pull = GPIO_NOPULL;
  HAL_GPIO_Init(VBUS_HS_GPIO_Port, &GPIO_InitStruct);

  /*Configure GPIO pins : D13_Pin D14_Pin D15_Pin D0_Pin
                           D1_Pin D2_Pin D3_Pin */
  GPIO_InitStruct.Pin = D13_Pin|D14_Pin|D15_Pin|D0_Pin
                          |D1_Pin|D2_Pin|D3_Pin;
  GPIO_InitStruct.Mode = GPIO_MODE_AF_PP;
  GPIO_InitStruct.Pull = GPIO_NOPULL;
  GPIO_InitStruct.Speed = GPIO_SPEED_FREQ_VERY_HIGH;
  GPIO_InitStruct.Alternate = GPIO_AF12_FMC;
  HAL_GPIO_Init(GPIOD, &GPIO_InitStruct);

  /*Configure GPIO pin : TE_Pin */
  GPIO_InitStruct.Pin = TE_Pin;
  GPIO_InitStruct.Mode = GPIO_MODE_INPUT;
  GPIO_InitStruct.Pull = GPIO_NOPULL;
  HAL_GPIO_Init(TE_GPIO_Port, &GPIO_InitStruct);

  /*Configure GPIO pins : RDX_Pin WRX_DCX_Pin */
  GPIO_InitStruct.Pin = RDX_Pin|WRX_DCX_Pin;
  GPIO_InitStruct.Mode = GPIO_MODE_OUTPUT_PP;
  GPIO_InitStruct.Pull = GPIO_NOPULL;
  GPIO_InitStruct.Speed = GPIO_SPEED_FREQ_LOW;
  HAL_GPIO_Init(GPIOD, &GPIO_InitStruct);

  /*Configure GPIO pins : R7_Pin DOTCLK_Pin B3_Pin */
  GPIO_InitStruct.Pin = R7_Pin|DOTCLK_Pin|B3_Pin;
  GPIO_InitStruct.Mode = GPIO_MODE_AF_PP;
  GPIO_InitStruct.Pull = GPIO_NOPULL;
  GPIO_InitStruct.Speed = GPIO_SPEED_FREQ_LOW;
  GPIO_InitStruct.Alternate = GPIO_AF14_LTDC;
  HAL_GPIO_Init(GPIOG, &GPIO_InitStruct);

  /*Configure GPIO pins : HSYNC_Pin G6_Pin R2_Pin */
  GPIO_InitStruct.Pin = HSYNC_Pin|G6_Pin|R2_Pin;
  GPIO_InitStruct.Mode = GPIO_MODE_AF_PP;
  GPIO_InitStruct.Pull = GPIO_NOPULL;
  GPIO_InitStruct.Speed = GPIO_SPEED_FREQ_LOW;
  GPIO_InitStruct.Alternate = GPIO_AF14_LTDC;
  HAL_GPIO_Init(GPIOC, &GPIO_InitStruct);

  /*Configure GPIO pin : I2C3_SDA_Pin */
  GPIO_InitStruct.Pin = I2C3_SDA_Pin;
  GPIO_InitStruct.Mode = GPIO_MODE_AF_OD;
  GPIO_InitStruct.Pull = GPIO_NOPULL;
  GPIO_InitStruct.Speed = GPIO_SPEED_FREQ_LOW;
  GPIO_InitStruct.Alternate = GPIO_AF4_I2C3;
  HAL_GPIO_Init(I2C3_SDA_GPIO_Port, &GPIO_InitStruct);

  /*Configure GPIO pin : I2C3_SCL_Pin */
  GPIO_InitStruct.Pin = I2C3_SCL_Pin;
  GPIO_InitStruct.Mode = GPIO_MODE_AF_OD;
  GPIO_InitStruct.Pull = GPIO_NOPULL;
  GPIO_InitStruct.Speed = GPIO_SPEED_FREQ_LOW;
  GPIO_InitStruct.Alternate = GPIO_AF4_I2C3;
  HAL_GPIO_Init(I2C3_SCL_GPIO_Port, &GPIO_InitStruct);

  /*Configure GPIO pins : STLINK_RX_Pin STLINK_TX_Pin */
  GPIO_InitStruct.Pin = STLINK_RX_Pin|STLINK_TX_Pin;
  GPIO_InitStruct.Mode = GPIO_MODE_AF_PP;
  GPIO_InitStruct.Pull = GPIO_NOPULL;
  GPIO_InitStruct.Speed = GPIO_SPEED_FREQ_VERY_HIGH;
  GPIO_InitStruct.Alternate = GPIO_AF7_USART1;
  HAL_GPIO_Init(GPIOA, &GPIO_InitStruct);

  /*Configure GPIO pins : G7_Pin B2_Pin */
  GPIO_InitStruct.Pin = G7_Pin|B2_Pin;
  GPIO_InitStruct.Mode = GPIO_MODE_AF_PP;
  GPIO_InitStruct.Pull = GPIO_NOPULL;
  GPIO_InitStruct.Speed = GPIO_SPEED_FREQ_LOW;
  GPIO_InitStruct.Alternate = GPIO_AF14_LTDC;
  HAL_GPIO_Init(GPIOD, &GPIO_InitStruct);

  /*Configure GPIO pins : G3_Pin B4_Pin */
  GPIO_InitStruct.Pin = G3_Pin|B4_Pin;
  GPIO_InitStruct.Mode = GPIO_MODE_AF_PP;
  GPIO_InitStruct.Pull = GPIO_NOPULL;
  GPIO_InitStruct.Speed = GPIO_SPEED_FREQ_LOW;
  GPIO_InitStruct.Alternate = GPIO_AF9_LTDC;
  HAL_GPIO_Init(GPIOG, &GPIO_InitStruct);

  /*Configure GPIO pins : LD3_Pin LD4_Pin */
  GPIO_InitStruct.Pin = LD3_Pin|LD4_Pin;
  GPIO_InitStruct.Mode = GPIO_MODE_OUTPUT_PP;
  GPIO_InitStruct.Pull = GPIO_NOPULL;
  GPIO_InitStruct.Speed = GPIO_SPEED_FREQ_LOW;
  HAL_GPIO_Init(GPIOG, &GPIO_InitStruct);

  /*Configure GPIO pins : SDCKE1_Pin SDNE1_Pin */
  GPIO_InitStruct.Pin = SDCKE1_Pin|SDNE1_Pin;
  GPIO_InitStruct.Mode = GPIO_MODE_AF_PP;
  GPIO_InitStruct.Pull = GPIO_NOPULL;
  GPIO_InitStruct.Speed = GPIO_SPEED_FREQ_VERY_HIGH;
  GPIO_InitStruct.Alternate = GPIO_AF12_FMC;
  HAL_GPIO_Init(GPIOB, &GPIO_InitStruct);

}

/* USER CODE BEGIN 4 */
void fill_tx_block(void)
{
    static uint16_t ecg_idx = 0;

    for (int i = 0; i < BLOCK_SAMPLES; i++)
    {
        uint16_t s = ecg_mock[ecg_idx++];

        if (ecg_idx >= ECG_LEN)
            ecg_idx = 0;

        dma_buffer[2*i]     = s & 0xFF; //LSB
        dma_buffer[2*i + 1] = s >> 8;   //MSB
        //DMA = [LSB,MSB,  LSB,MSG,   LSB,MSB],...
    }
}

void send_block_dma(void)
{
    fill_tx_block();
   // HAL_UART_Transmit_DMA(&huart5, dma_buffer, TX_BLOCK_SIZE);
    //&huart5 je pokazivac na određenu uart periferiju
    //dma_buffer pokazivac na podatke, "pokazivac gleda na prvi bajt u arrayu dma_buffer, pa ne treba &dma_buffer"
    //TX_BLOCK_SIZE broj bajtova koji će DMA poslat UARTU,
    //bitno da za razumijet da DMA u prijenosu između blokova ostavi procesoru "vremena" da radi ostale stvari
    //kada bi koristili samo HAL_UART_Transmit() tada procesor nebi mogao radit ništa između slanja podataka
    //po završetku prijenosa jednog bloka DMA aktivira funkciju HAL_UART_TxCpltCallback() iz koje možemo pokrenunt novo slanje podataka

}

void HAL_UART_RxCpltCallback(UART_HandleTypeDef *huart)
//Nakon što se triggera interrupt na rx, ova se funkcija automatski poziva

{
    if (huart->Instance == UART5)
    {
        if (rx_byte == '\n')   // kraj poruke
        {
            rx_buffer[rx_index] = '\0';
            rx_index = 0;

            if (strcmp(rx_buffer, "#?#") == 0)
            {
                // SYNC zahtjev saljemo sa uartom u python skriptu
            	//preko uarta5 šaljemo znak !, koji sadrži samo jedan bajt i timeout je 100ms
                HAL_UART_Transmit(&huart5, (uint8_t*)"!", 1, 100);
            }
            else if (strcmp(rx_buffer, "#A#") == 0)
            {
            	//strcmp(a,b) - usporedjuje dva stringa i ako su jednaki vraca nulu
                // START STREAM
                start_streaming();
            }
            else if (strcmp(rx_buffer, "#S#") == 0)
            {
                // STOP STREAM
                stop_streaming();
            }
        }
        else
        {
            rx_buffer[rx_index++] = rx_byte;
            if (rx_index >= sizeof(rx_buffer))
                rx_index = 0;
        }

        HAL_UART_Receive_IT(&huart5, &rx_byte, 1);
    }
}

void start_streaming(void)
{
    if (!streaming)
    {
        streaming = 1;
        HAL_UART_Transmit_DMA(&huart5, dma_buffer, TX_BLOCK_SIZE);
    }
}

void stop_streaming(void)
{
    streaming = 0;
    HAL_UART_AbortTransmit(&huart5);
}

void HAL_UART_TxCpltCallback(UART_HandleTypeDef *huart)
{
    if(huart->Instance == UART5)
    {
        send_block_dma(); // šalje sljedeći blok
    }

    //Mi cemo trebat kontrolirat frekvenciju prikpljanja podatka (delay u sljedecoj liniji nema smisla), trebamo delay samo da simuliramo podatke koje bi dobivali kod grafičkog sučelja
    HAL_Delay(125);
    //Isto tako, kod prikupljanja podataka bitno je da ne šaljemo podatke sa DMA->UART čim ih dobijemo, tj. slat ćemo podatke tek kad skupimo cijeli blok informacija
    //Kada suspendamo program i dalje u python skirpti mozemo vidjet informacije (tu dolazi ona razlika "software" i "hardware"), DMA je nezavisni kontroler i UART je nazavisna periferija u odnosu
    //na procesor koji rad isključivo kad nije suspendan, ono što je pisalo u memoriji i dalje piše u memoriji, te se dalje šalje u python skriptu preko COM porta
}

/* USER CODE END 4 */

void Error_Handler(void)
{
  __disable_irq();
  while (1)
  {
  }
}
